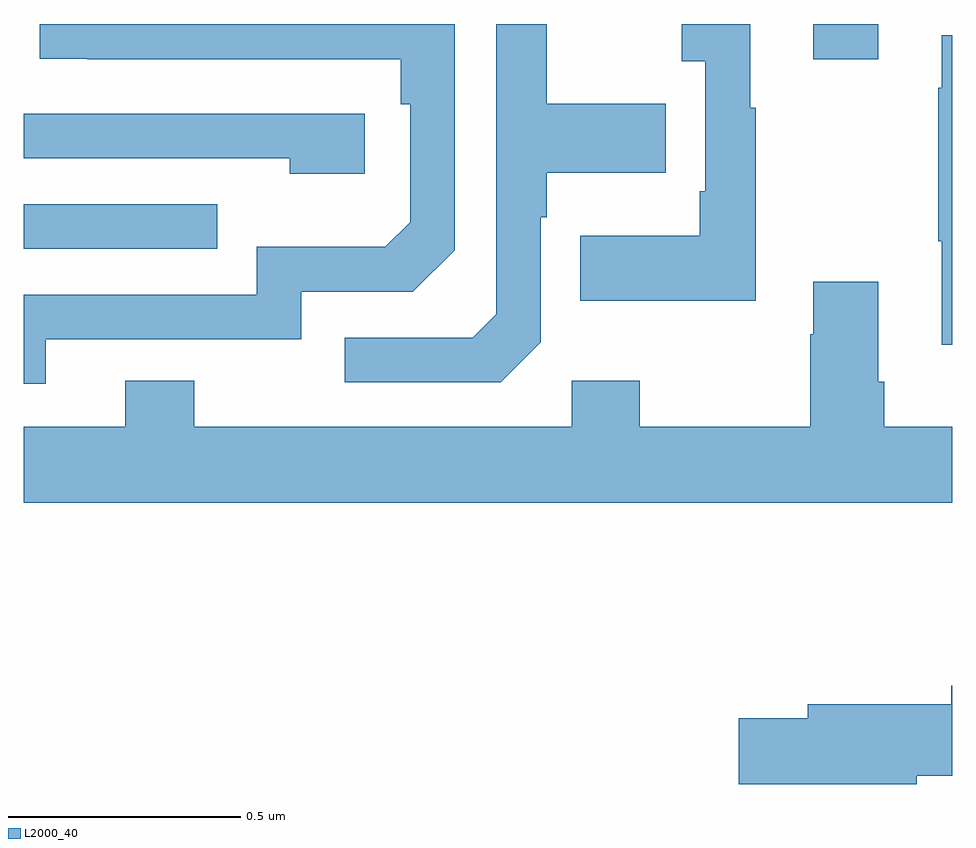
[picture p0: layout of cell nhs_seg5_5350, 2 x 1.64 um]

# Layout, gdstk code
import gdstk
lib = gdstk.Library(unit=1e-6, precision=1e-09)
def R(c, l, rs):  # rectangles x0, y0, x1, y1
    for r in rs: c.add(gdstk.rectangle(r[:2], r[2:], *l))
def P(c, l, *ps):  # polygons
    for p in ps: c.add(gdstk.Polygon(p, *l))
L2000_40 = (2000, 40)

nhs_seg5_5350 = lib.new_cell('nhs_seg5_5350')
R(nhs_seg5_5350, L2000_40, [(182,849.315,182.417,849.411), (183.701,849.723,183.841,849.799)])
P(nhs_seg5_5350, L2000_40, [(183.577,849.619),(183.565,849.619),(183.565,849.799),(183.417,849.799),(183.417,849.719),(183.468,849.719),(183.468,849.439),(183.456,849.439),(183.456,849.343),(183.199,849.343),(183.199,849.203),(183.577,849.203)],
  [(182.047,849.12),(182.598,849.12),(182.598,849.222),(182.838,849.222),(182.928,849.312),(182.928,849.799),(182.035,849.799),(182.035,849.724),(182.137,849.724),(182.137,849.723),(182.812,849.723),(182.812,849.626),(182.832,849.626),(182.832,849.372),(182.779,849.319),(182.502,849.319),(182.502,849.216),(182,849.216),(182,849.024),(182.047,849.024)],
  [(183.114,849.114),(183.114,849.383),(183.127,849.383),(183.127,849.479),(183.383,849.479),(183.383,849.627),(183.127,849.627),(183.127,849.799),(183.018,849.799),(183.018,849.174),(182.967,849.123),(182.691,849.123),(182.691,849.027),(183.027,849.027)],
  [(184,849.775),(183.977,849.775),(183.977,849.662),(183.97,849.662),(183.97,849.331),(183.977,849.331),(183.977,849.108),(184,849.108)],
  [(182.734,849.606),(182,849.606),(182,849.51),(182.573,849.51),(182.573,849.476),(182.734,849.476)],
  [(184,848.932),(183.854,848.932),(183.854,849.028),(183.841,849.028),(183.841,849.244),(183.701,849.244),(183.701,849.131),(183.694,849.131),(183.694,848.932),(183.327,848.932),(183.327,849.031),(183.18,849.031),(183.18,848.932),(182.367,848.932),(182.367,849.031),(182.219,849.031),(182.219,848.932),(182,848.932),(182,848.768),(184,848.768)],
  [(183.924,848.18),(184,848.18),(184,848.374),(183.998,848.374),(183.998,848.334),(183.689,848.334),(183.689,848.304),(183.54,848.304),(183.54,848.162),(183.924,848.162)])

lib.write_gds('nhs_seg5_5350.gds')
